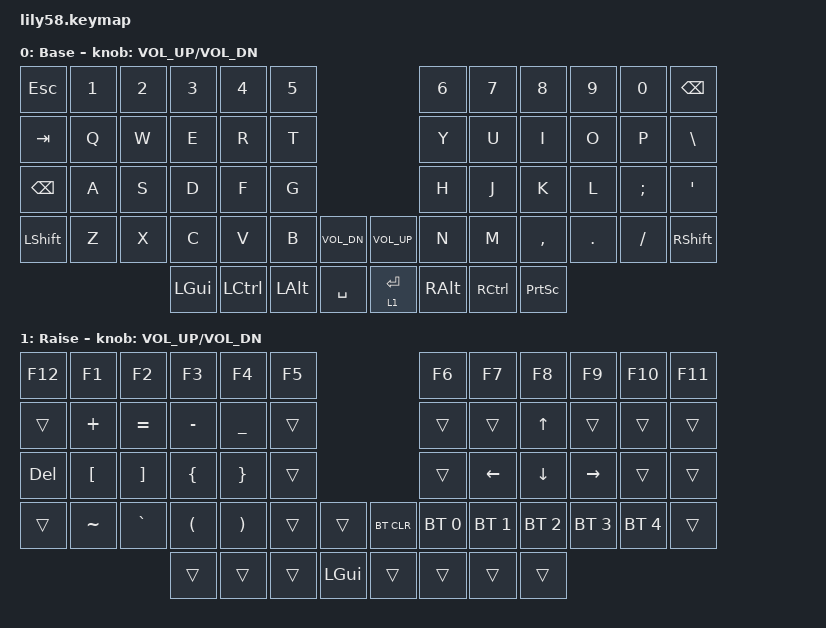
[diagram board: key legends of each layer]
/*
 * Copyright (c) 2020 The ZMK Contributors
 *
 * SPDX-License-Identifier: MIT
 */

#include <behaviors.dtsi>
#include <dt-bindings/zmk/keys.h>
#include <dt-bindings/zmk/bt.h>
#include <dt-bindings/zmk/ext_power.h>

&lt {
    flavor = "hold-preferred";
    tapping-term-ms = <100>;
};

/ {
    keymap {
        compatible = "zmk,keymap";

        default_layer {
// ------------------------------------------------------------------------------------------------------------
// |  ESC  |  1  |  2  |  3   |  4   |  5   |                           |  6  |  7   |  8    |  9   |   0   | BKSP  |
// |  TAB  |  Q  |  W  |  E   |  R   |  T   |                           |  Y  |  U   |  I    |  O   |   P   |   \   |
// |  BKSP |  A  |  S  |  D   |  F   |  G   |                           |  H  |  J   |  K    |  L   |   ;   |   '   |
// | SHIFT |  Z  |  X  |  C   |  V   |  B   | VOL D |  | VOL U          |  N  |  M   |  ,    |  .   |   /   | SHIFT |
//                     | GUI  | CTRL | ALT  | SPACE |  | LT(raise, ENT) | ALT | CTRL | PSCRN |
            label = "Base";
            bindings = <
&kp ESC   &kp N1 &kp N2 &kp N3   &kp N4    &kp N5                                &kp N6   &kp N7    &kp N8    &kp N9  &kp N0   &kp BSPC
&kp TAB   &kp Q  &kp W  &kp E    &kp R     &kp T                                 &kp Y    &kp U     &kp I     &kp O   &kp P    &kp BSLH
&kp BSPC  &kp A  &kp S  &kp D    &kp F     &kp G                                 &kp H    &kp J     &kp K     &kp L   &kp SEMI &kp SQT
&kp LSHFT &kp Z  &kp X  &kp C    &kp V     &kp B     &kp C_VOL_DN   &kp C_VOL_UP &kp N    &kp M     &kp COMMA &kp DOT &kp FSLH &kp RSHFT
                        &kp LGUI &kp LCTRL &kp LALT  &kp SPACE      &lt 1 RET    &kp RALT &kp RCTRL &kp PSCRN
            >;

            sensor-bindings = <&inc_dec_kp C_VOL_UP C_VOL_DN>;
        };

        raise_layer {
// ------------------------------------------------------------------------------------------------------------
// | F12 | F1  | F2  | F3   | F4   | F5   |                   | F6   |  F7   |  F8  | F9    |  F10  |  F11  |
// |     |  +  |  =  |  -   |  _   |      |                   |      |       |  UP  |       |       |       |
// | DEL |  [  |  ]  |  {   |  }   |      |                   |      | LEFT  | DOWN | RIGHT |       |       |
// |     |  ~  |  `  |  (   |  )   |      |        |  | BTCLR | BT1  |  BT2  | BT3  | BT4   | BT5   |       |
//                   |      |      |      |  GUI   |  |       |      |       |      |
            label = "Raise";
            bindings = <
&kp F12 &kp F1    &kp F2    &kp F3    &kp F4    &kp F5                      &kp F6       &kp F7       &kp F8       &kp F9       &kp F10      &kp F11
&trans  &kp PLUS  &kp EQUAL &kp MINUS &kp UNDER &trans                      &trans       &trans       &kp UP       &trans       &trans       &trans
&kp DEL &kp LBKT  &kp RBKT  &kp LBRC  &kp RBRC  &trans                      &trans       &kp LEFT     &kp DOWN     &kp RIGHT    &trans       &trans
&trans  &kp TILDE &kp GRAVE &kp LPAR  &kp RPAR  &trans &trans    &bt BT_CLR &bt BT_SEL 0 &bt BT_SEL 1 &bt BT_SEL 2 &bt BT_SEL 3 &bt BT_SEL 4 &trans
                            &trans    &trans    &trans &kp LGUI  &trans     &trans       &trans       &trans
            >;

            sensor-bindings = <&inc_dec_kp C_VOL_UP C_VOL_DN>;
        };
    };
};
